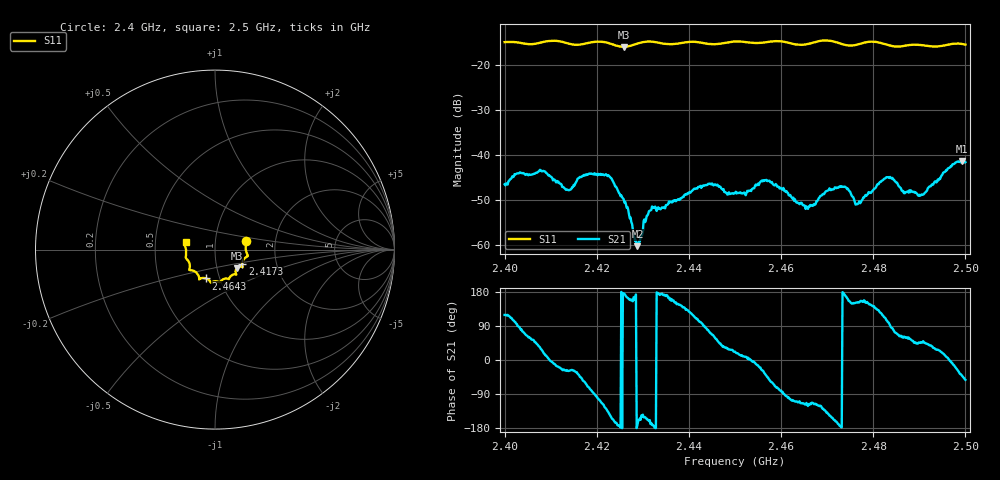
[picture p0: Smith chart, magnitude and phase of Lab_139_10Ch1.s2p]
# Hz S RI R 50
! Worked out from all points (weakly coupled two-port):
!   601 points, 2.4 GHz to 2.5 GHz, reference 50 ohm
!   highest |S21| = -41.32 dB at 2.4992 GHz (marker M1); lowest = -60.3 dB at 2.4288 GHz (marker M2)
!   lowest |S11| = -15.9 dB at 2.4258 GHz (marker M3), VSWR 1.38, Z = 62.3 - j13.3 ohm
!   |S11| at or under -10 dB: start of sweep to end of sweep
!   S12 and S22 are empty: the file has one direction only
!   S11 on the Smith chart (normalised r, x): 2.4 GHz: 1.41, +0.14; 2.4173 GHz: 1.34, -0.23; 2.4643 GHz: 0.86, -0.28; 2.5 GHz: 0.72, +0.06
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2.4e9  0.1734 0.0488  -0.00229 0.00414  0 0  0 0
2.402667e9  0.1757 0.0368  -0.000512 0.00622  0 0  0 0
2.408167e9  0.1785 -0.0228  0.00599 0.00274  0 0  0 0
2.413833e9  0.1677 -0.0458  0.00356 -0.00198  0 0  0 0
2.416667e9  0.1528 -0.0745  0.00385 -0.00421  0 0  0 0
2.417333e9  0.152 -0.082  0.00318 -0.00498  0 0  0 0
2.4225e9  0.1488 -0.0948  -0.00442 -0.00404  0 0  0 0
2.425833e9  0.1214 -0.1038  -0.00323 0.000222  0 0  0 0
2.428833e9  0.115 -0.1302  -0.000959 -0.000153  0 0  0 0
2.4315e9  0.1189 -0.1391  -0.00224 -0.000878  0 0  0 0
2.433333e9  0.1129 -0.1375  -0.00262 0.000158  0 0  0 0
2.444167e9  0.0619 -0.1607  0.000903 0.0047  0 0  0 0
2.45e9  0.0288 -0.1811  0.00351 0.00142  0 0  0 0
2.457e9  -0.0141 -0.1801  0.00362 -0.00365  0 0  0 0
2.464333e9  -0.0499 -0.1605  -0.0012 -0.0027  0 0  0 0
2.466667e9  -0.0759 -0.1591  -0.00106 -0.00252  0 0  0 0
2.473167e9  -0.0922 -0.1451  -0.00449 -0.00019  0 0  0 0
2.476667e9  -0.1231 -0.1169  -0.00254 0.00132  0 0  0 0
2.483333e9  -0.1404 -0.0895  -0.000885 0.00562  0 0  0 0
2.490333e9  -0.1627 -0.0391  0.00243 0.00262  0 0  0 0
2.499167e9  -0.168 0.0381  0.00659 -0.00551  0 0  0 0
2.5e9  -0.1639 0.0427  0.0051 -0.0066  0 0  0 0
